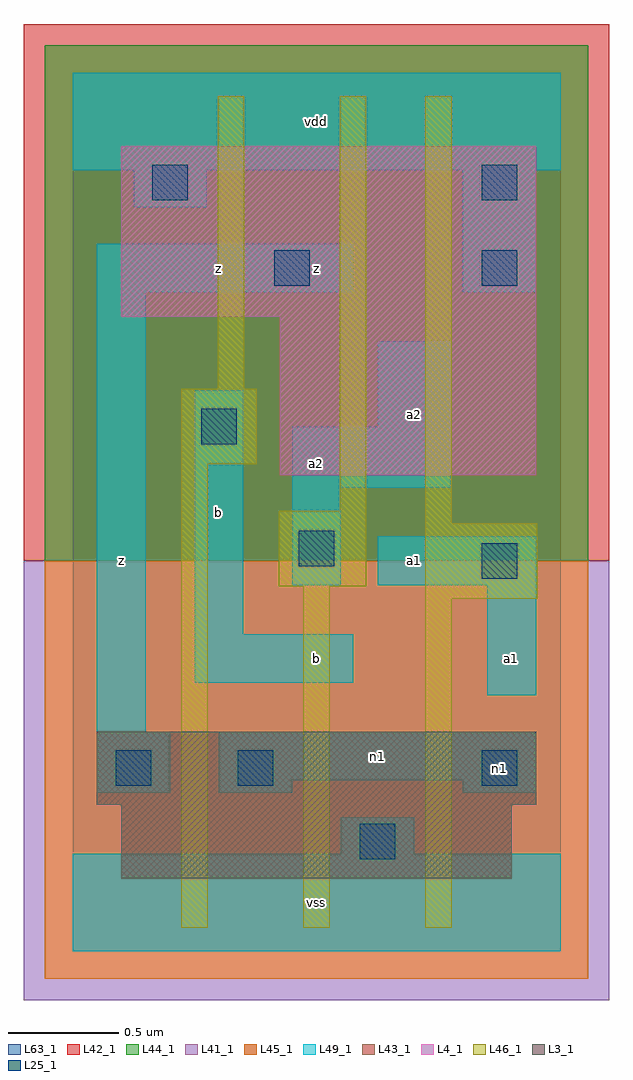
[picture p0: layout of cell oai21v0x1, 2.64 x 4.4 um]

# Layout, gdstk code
import gdstk
lib = gdstk.Library(unit=1e-6, precision=1e-09)
def R(c, l, rs):  # rectangles x0, y0, x1, y1
    for r in rs: c.add(gdstk.rectangle(r[:2], r[2:], *l))
L3_1 = (3, 1)
L4_1 = (4, 1)
L25_1 = (25, 1)
L41_1 = (41, 1)
L42_1 = (42, 1)
L43_1 = (43, 1)
L44_1 = (44, 1)
L45_1 = (45, 1)
L46_1 = (46, 1)
L49_1 = (49, 1)
L63_1 = (63, 1)

oai21v0x1 = lib.new_cell('oai21v0x1')
R(oai21v0x1, L3_1, [(0.22,0.33,1.98,0.66), (0.11,0.66,2.09,0.99)])
R(oai21v0x1, L4_1, [(0.935,2.145,2.09,2.86), (0.22,2.86,2.09,3.63)])
R(oai21v0x1, L25_1, [(1.295,0.415,1.455,0.575), (0.195,0.745,0.355,0.905), (0.745,0.745,0.905,0.905), (1.845,0.745,2.005,0.905), (1.845,1.68,2.005,1.84), (1.02,1.735,1.18,1.895), (0.58,2.285,0.74,2.445), (0.91,3,1.07,3.16), (1.845,3,2.005,3.16), (0.36,3.385,0.52,3.545), (1.845,3.385,2.005,3.545)])
R(oai21v0x1, L41_1, [(-0.22,-0.22,2.42,1.76)])
R(oai21v0x1, L42_1, [(-0.22,1.76,2.42,4.18)])
R(oai21v0x1, L43_1, [(0.22,0.33,1.98,0.66), (0.11,0.66,2.09,0.99), (0.935,2.145,2.09,2.86), (0.22,2.86,2.09,3.63)])
R(oai21v0x1, L44_1, [(-0.125,1.76,2.325,4.085)])
R(oai21v0x1, L45_1, [(-0.125,-0.125,2.325,1.76)])
R(oai21v0x1, L46_1, [(0.49,0.105,0.61,2.195), (1.04,0.105,1.16,1.645), (1.59,0.105,1.71,1.59), (1.59,1.59,2.095,1.93), (0.93,1.645,1.325,1.985), (1.59,1.93,1.71,3.855), (1.205,1.985,1.325,3.855), (0.49,2.195,0.83,2.535), (0.655,2.535,0.775,3.855)])
R(oai21v0x1, L49_1, [(0,0,2.2,0.44), (1.21,0.44,1.54,0.605), (0.11,0.715,0.44,0.99), (0.66,0.715,0.99,0.77), (1.76,0.715,2.09,0.77), (0.66,0.77,2.09,0.99), (0.11,0.99,0.33,2.97), (1.87,1.155,2.09,1.65), (0.55,1.21,1.265,1.43), (0.55,1.43,0.77,2.53), (0.99,1.65,1.21,2.09), (1.375,1.65,2.09,1.87), (0.99,2.09,1.705,2.365), (1.375,2.365,1.705,2.75), (0.11,2.97,1.265,3.19), (1.76,2.97,2.09,3.52), (0.275,3.355,0.605,3.52), (0,3.52,2.2,3.96)])
R(oai21v0x1, L63_1, [(0,0,2.2,3.96)])
oai21v0x1.add(gdstk.Label('z', (0.22,1.76), layer=49, texttype=1))
oai21v0x1.add(gdstk.Label('b', (0.66,1.98), layer=49, texttype=1))
oai21v0x1.add(gdstk.Label('z', (0.66,3.08), layer=49, texttype=1))
oai21v0x1.add(gdstk.Label('vss', (1.1,0.22), layer=49, texttype=1))
oai21v0x1.add(gdstk.Label('b', (1.1,1.32), layer=49, texttype=1))
oai21v0x1.add(gdstk.Label('a1', (1.54,1.76), layer=49, texttype=1))
oai21v0x1.add(gdstk.Label('a2', (1.1,2.2), layer=49, texttype=1))
oai21v0x1.add(gdstk.Label('a2', (1.54,2.42), layer=49, texttype=1))
oai21v0x1.add(gdstk.Label('z', (1.1,3.08), layer=49, texttype=1))
oai21v0x1.add(gdstk.Label('vdd', (1.1,3.74), layer=49, texttype=1))
oai21v0x1.add(gdstk.Label('n1', (1.925,0.825), layer=49, texttype=1))
oai21v0x1.add(gdstk.Label('n1', (1.375,0.88), layer=49, texttype=1))
oai21v0x1.add(gdstk.Label('a1', (1.98,1.32), layer=49, texttype=1))

lib.write_gds('oai21v0x1.gds')
